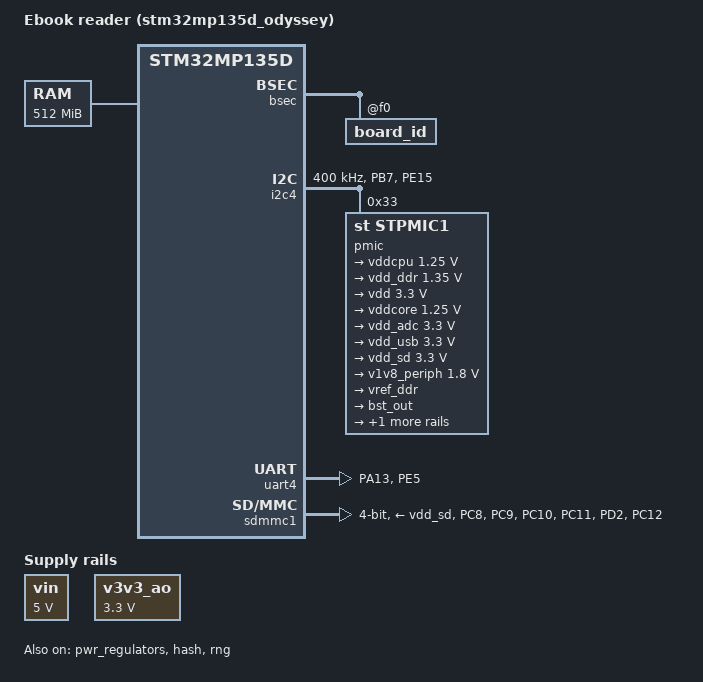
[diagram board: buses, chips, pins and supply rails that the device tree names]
// SPDX-License-Identifier: (GPL-2.0+ OR BSD-3-Clause)
/*
 * Copyright (C) 2026, STMicroelectronics - All Rights Reserved
 * Author: STM32CubeMX code generation for STMicroelectronics.
 */

/* For more information on Device Tree configuration, please refer to
 * https://wiki.st.com/stm32mpu/wiki/Category:Device_tree_configuration
 */

/dts-v1/;

#include <dt-bindings/pinctrl/stm32-pinfunc.h>
#include <dt-bindings/clock/stm32mp13-clksrc.h>

#include "stm32mp135.dtsi"
#include "stm32mp13xd.dtsi"

/* USER CODE BEGIN includes */
#include "stm32mp13-ebook-reader.dtsi"
#include "stm32mp13-ddr.dtsi"
/* USER CODE END includes */

/ {
	model = "Ebook reader (stm32mp135d_odyssey)";
	compatible = "ebk,stm32mp135d-odyssey";

	memory@c0000000 {
		device_type = "memory";
		reg = <0xc0000000 0x20000000>;

		/* USER CODE BEGIN memory */
		/* USER CODE END memory */
	};

	/* USER CODE BEGIN root */
	aliases{
		serial0 = &uart4;
	};

	chosen{
		stdout-path = "serial0:115200n8";
	};

	vin: vin {
		compatible = "regulator-fixed";
		regulator-name = "vin";
		regulator-min-microvolt = <5000000>;
		regulator-max-microvolt = <5000000>;
		regulator-always-on;
	};

	v3v3_ao: v3v3_ao {
		compatible = "regulator-fixed";
		regulator-name = "v3v3_ao";
		regulator-min-microvolt = <3300000>;
		regulator-max-microvolt = <3300000>;
		regulator-always-on;
	};
	/* USER CODE END root */
}; /*root*/

&pinctrl {
	i2c4_pins_mx: i2c4_mx-0 {
		pins {
			pinmux = <STM32_PINMUX('B', 7, AF6)>, /* I2C4_SDA */
				 <STM32_PINMUX('E', 15, AF6)>; /* I2C4_SCL */
			bias-disable;
			drive-open-drain;
			slew-rate = <0>;
		};
	};

	uart4_pins_mx: uart4_mx-0 {
		pins1 {
			pinmux = <STM32_PINMUX('A', 13, AF8)>; /* UART4_TX */
			bias-disable;
			drive-push-pull;
			slew-rate = <0>;
		};
		pins2 {
			pinmux = <STM32_PINMUX('E', 5, AF8)>; /* UART4_RX */
			bias-disable;
		};
	};

	sdmmc1_pins_mx: sdmmc1_mx-0 {
		pins1 {
			pinmux = <STM32_PINMUX('C', 8, AF12)>, /* SDMMC1_D0 */
					 <STM32_PINMUX('C', 9, AF12)>, /* SDMMC1_D1 */
					 <STM32_PINMUX('C', 10, AF12)>, /* SDMMC1_D2 */
					 <STM32_PINMUX('C', 11, AF12)>, /* SDMMC1_D3 */
					 <STM32_PINMUX('D', 2, AF12)>; /* SDMMC1_CMD */
			bias-disable;
			drive-push-pull;
			slew-rate = <1>;
		};
		pins2 {
			pinmux = <STM32_PINMUX('C', 12, AF12)>; /* SDMMC1_CK */
			bias-disable;
			drive-push-pull;
			slew-rate = <3>;
		};
	};
	/* USER CODE BEGIN pinctrl */
	
	/* USER CODE END pinctrl */
};

&bsec {
	status = "okay";

	/* USER CODE BEGIN bsec */
	board_id: board_id@f0 {
		reg = <0xf0 0x4>;
		st,non-secure-otp;
	};
	/* USER CODE END bsec */
};

&i2c4 {
	pinctrl-names = "default";
	pinctrl-0 = <&i2c4_pins_mx>;
	status = "okay";

	/* USER CODE BEGIN i2c4 */
	i2c-scl-rising-time-ns = <185>;
	i2c-scl-falling-time-ns = <20>;
	clock-frequency = <400000>;
	
	pmic: stpmic@33 {
		compatible = "st,stpmic1";
		reg = <0x33>;

		status = "okay";

		regulators {
			compatible = "st,stpmic1-regulators";
			buck1-supply = <&vin>;
			buck2-supply = <&vin>;
			buck3-supply = <&vin>;
			buck4-supply = <&vin>;
			ldo1-supply = <&vin>;
			ldo4-supply = <&vin>;
			ldo5-supply = <&vin>;
			ldo6-supply = <&vin>;
			vref_ddr-supply = <&vin>;
			pwr_sw1-supply = <&bst_out>;
			pwr_sw2-supply = <&v3v3_ao>;

			vddcpu: buck1 {
				regulator-name = "vddcpu";
				regulator-min-microvolt = <1250000>;
				regulator-max-microvolt = <1250000>;
				regulator-always-on;
				regulator-over-current-protection;
			};

			vdd_ddr: buck2 {
				regulator-name = "vdd_ddr";
				regulator-min-microvolt = <1350000>;
				regulator-max-microvolt = <1350000>;
				regulator-always-on;
				regulator-over-current-protection;
			};

			vdd: buck3 {
				regulator-name = "vdd";
				regulator-min-microvolt = <3300000>;
				regulator-max-microvolt = <3300000>;
				regulator-always-on;
				st,mask-reset;
				regulator-over-current-protection;
			};

			vddcore: buck4 {
				regulator-name = "vddcore";
				regulator-min-microvolt = <1250000>;
				regulator-max-microvolt = <1250000>;
				regulator-always-on;
				regulator-over-current-protection;
			};

			vdd_adc: ldo1 {
				regulator-name = "vdd_adc";
				regulator-min-microvolt = <3300000>;
				regulator-max-microvolt = <3300000>;
			};

			vdd_usb: ldo4 {
				regulator-name = "vdd_usb";
				regulator-min-microvolt = <3300000>;
				regulator-max-microvolt = <3300000>;
			};

			vdd_sd: ldo5 {
				regulator-name = "vdd_sd";
				regulator-min-microvolt = <3300000>;
				regulator-max-microvolt = <3300000>;
				regulator-boot-on;
			};

			v1v8_periph: ldo6 {
				regulator-name = "v1v8_periph";
				regulator-min-microvolt = <1800000>;
				regulator-max-microvolt = <1800000>;
			};

			vref_ddr: vref_ddr {
				regulator-name = "vref_ddr";
				regulator-always-on;
			};

			bst_out: boost {
				regulator-name = "bst_out";
			};

			v3v3_sw: pwr_sw2 {
				regulator-name = "v3v3_sw";
				regulator-active-discharge = <1>;
				regulator-always-on;
			};
		};
	};	
	/* USER CODE END i2c4 */
};

&rcc {
	status = "okay";
	st,clksrc = <
		CLK_MPU_PLL1P
		CLK_AXI_PLL2P
		CLK_MLAHBS_PLL3
		CLK_CKPER_DISABLED
		CLK_SDMMC1_PLL3R
		CLK_STGEN_HSI
		CLK_I2C4_PCLK6
		CLK_USBO_USBPHY
		CLK_UART4_HSI
	>;
	st,clkdiv = <
		DIV(DIV_MPU, 1)
		DIV(DIV_AXI, 0)
		DIV(DIV_MLAHB, 0)
		DIV(DIV_APB1, 1)
		DIV(DIV_APB2, 1)
		DIV(DIV_APB3, 1)
		DIV(DIV_APB4, 1)
		DIV(DIV_APB5, 2)
		DIV(DIV_APB6, 1)
	>;
	st,pll_vco {
		pll1_vco_1992Mhz: pll1-vco-1992Mhz {
			src = < CLK_PLL12_HSI >;
			divmn = < 3 61 >;
			frac = < 0x800 >;
		};
		pll2_vco_1066Mhz: pll2-vco-1066Mhz {
			src = < CLK_PLL12_HSI >;
			divmn = < 3 32 >;
			frac = < 0xa00 >;
		};
		pll3_vco_400Mhz: pll3-vco-400Mhz {
			src = < CLK_PLL3_HSE >;
			divmn = < 1 32 >;
			frac = < 0xaab >;
		};
		/* USER CODE BEGIN rcc_st-pll_vco */
		/* USER CODE END rcc_st-pll_vco */
	};

	pll1:st,pll@0 {
		compatible = "st,stm32mp1-pll";
		reg = <0>;

		st,pll = < &pll1_cfg1 >;

		pll1_cfg1: pll1_cfg1 {
			st,pll_vco = < &pll1_vco_1992Mhz >;
			st,pll_div_pqr = < 0 1 1 >;
		};
		/* USER CODE BEGIN pll1 */
		/* USER CODE END pll1 */
	};

	pll2:st,pll@1 {
		compatible = "st,stm32mp1-pll";
		reg = <1>;

		st,pll = < &pll2_cfg1 >;

		pll2_cfg1: pll2_cfg1 {
			st,pll_vco = < &pll2_vco_1066Mhz >;
			st,pll_div_pqr = < 1 1 0 >;
		};
		/* USER CODE BEGIN pll2 */
		/* USER CODE END pll2 */
	};

	pll3:st,pll@2 {
		compatible = "st,stm32mp1-pll";
		reg = <2>;

		st,pll = < &pll3_cfg1 >;

		pll3_cfg1: pll3_cfg1 {
			st,pll_vco = < &pll3_vco_400Mhz >;
			st,pll_div_pqr = < 1 1 1 >;
		};
		/* USER CODE BEGIN pll3 */
		/* USER CODE END pll3 */
	};

};

&pwr_regulators {
	status = "okay";

	/* USER CODE BEGIN pwr_regulators */
	vdd-supply = <&vdd>;
	vdd_3v3_usbfs-supply = <&vdd_usb>;
	/* USER CODE END pwr_regulators */
};

&uart4 {
	pinctrl-names = "default";
	pinctrl-0 = <&uart4_pins_mx>;
	status = "okay";

	/* USER CODE BEGIN uart4 */
	/* USER CODE END uart4 */
};

&sdmmc1 {
	pinctrl-names = "default";
	pinctrl-0 = <&sdmmc1_pins_mx>;
	status = "okay";

	/* USER CODE BEGIN sdmmc1 */
	disable-wp;
	st,neg-edge;
	bus-width = <4>;
	vmmc-supply = <&vdd_sd>;	
	/* USER CODE END sdmmc1 */
};

/* USER CODE BEGIN addons */
&cpu0 {
	cpu-supply = <&vddcpu>;
};

&hash {
	status = "okay";
};

&rng {
	status = "okay";
};

&ddr {
	vdd-supply = <&vdd_ddr>;
	vref-supply = <&vref_ddr>;
};
/* USER CODE END addons */
